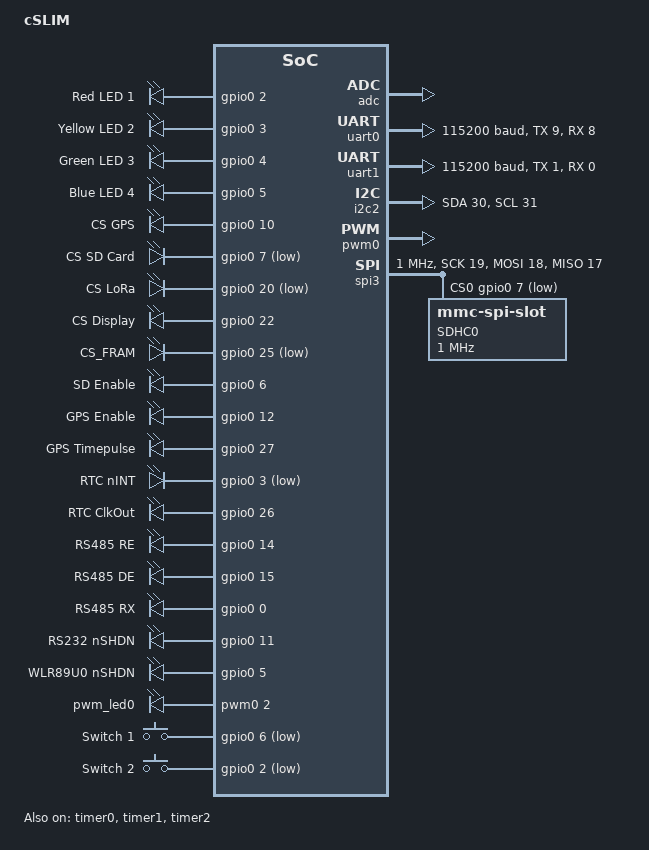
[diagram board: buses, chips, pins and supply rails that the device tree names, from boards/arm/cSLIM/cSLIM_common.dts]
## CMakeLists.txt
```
#
# Copyright (c) 2018 Nordic Semiconductor ASA
#
# SPDX-License-Identifier: LicenseRef-Nordic-5-Clause
#

cmake_minimum_required(VERSION 3.13.1)

#add custom board
list(APPEND BOARD_ROOT ${CMAKE_CURRENT_SOURCE_DIR})

find_package(Zephyr REQUIRED HINTS $ENV{ZEPHYR_BASE})
project(mqtt-simple)

#Fix <ff.h> not found
zephyr_include_directories( $ENV{ZEPHYR_BASE}/../modules/fs/fatfs/include)        #Add this line

#disable uart logging of boot sequence
set(mcuboot_CONF_FILE 
    prj.conf 
    mcuboot_config.conf
    )

#add local sources
FILE(GLOB app_sources src/*.c)
target_sources(app PRIVATE ${app_sources})
target_include_directories(app PRIVATE src)

add_subdirectory(src/drivers)
add_subdirectory(src/devices)
add_subdirectory(src/ugui)
add_subdirectory(src/buffers)
add_subdirectory(src/tasks)
add_subdirectory(src/time)
add_subdirectory(src/mqtt)
add_subdirectory(src/local_log)
add_subdirectory(src/messages)

# NORDIC SDK APP START
target_sources(app PRIVATE src/main.c)
# NORDIC SDK APP END
```

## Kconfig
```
#
# Copyright (c) 2020 Nordic Semiconductor ASA
#
# SPDX-License-Identifier: LicenseRef-Nordic-5-Clause
#

menu "MQTT simple sample"
config MQTT_PUB_TOPIC
	string "MQTT publish topic"
	default "my/publish/topic"

config MQTT_SUB_TOPIC
	string "MQTT subscribe topic"
	default "my/subscribe/topic"

config MQTT_CLIENT_ID
	string "MQTT Client ID"
	default "my-client-id"

config MQTT_BROKER_HOSTNAME
	string "MQTT broker hostname"
	default "mqtt.eclipseprojects.io"

config MQTT_BROKER_PORT
	int "MQTT broker port"
	default 1883

config MQTT_BROKER_USERNAME
	string "MQTT broker username"
	default NULL

config MQTT_BROKER_PASSWORD
	string "MQTT broker password"
	default NULL

config MQTT_MESSAGE_BUFFER_SIZE
	int "MQTT message buffer size"
	default 128

config MQTT_PAYLOAD_BUFFER_SIZE
	int "MQTT payload buffer size"
	default 128

config BUTTON_EVENT_PUBLISH_MSG
	string "The message to publish on a button event"
	default "Hello from nRF91 MQTT Simple Sample"

config BUTTON_EVENT_BTN_NUM
	int "The button number"
	default 1

config MQTT_RECONNECT_DELAY_S
	int "Seconds to delay before attempting to reconnect to the broker."
	default 60

config LTE_CONNECT_RETRY_DELAY_S
	int "Seconds to delay before attempting to retry LTE connection."
	default 120

config MQTT_TLS_SEC_TAG
	int "TLS credentials security tag"
	default 24

config MQTT_TLS_SESSION_CACHING
	bool "Enable TLS session caching"

config MQTT_TLS_PEER_VERIFY
	int "Set peer verification level"
	default 2
	help
		Set to 0 for VERIFY_NONE, 1 for VERIFY_OPTIONAL, and 2 for
		VERIFY_REQUIRED.
		

endmenu

menu "Zephyr Kernel"
source "Kconfig.zephyr"
endmenu

module = MQTT_SIMPLE
module-str = MQTT Simple
source "${ZEPHYR_BASE}/subsys/logging/Kconfig.template.log_config"
```

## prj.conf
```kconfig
#
# Copyright (c) 2020 Nordic Semiconductor ASA
#
# SPDX-License-Identifier: LicenseRef-Nordic-5-Clause
#

# Networking
CONFIG_NETWORKING=y
CONFIG_NET_NATIVE=n
CONFIG_NET_SOCKETS_OFFLOAD=y
CONFIG_NET_SOCKETS=y
CONFIG_NET_SOCKETS_POSIX_NAMES=y

# LTE link control
CONFIG_LTE_LINK_CONTROL=y
CONFIG_LTE_AUTO_INIT_AND_CONNECT=n
CONFIG_LTE_NETWORK_MODE_NBIOT=y

CONFIG_MQTT_KEEPALIVE=3500
CONFIG_LTE_EDRX_REQ=y
CONFIG_LTE_EDRX_REQ_VALUE="0110"
#CONFIG_LTE_PSM_REQ_RPTAU=
#CONFIG_LTE_PSM_REQ_RAT=

# Modem library
CONFIG_NRF_MODEM_LIB=y

# AT Host
CONFIG_UART_INTERRUPT_DRIVEN=y
CONFIG_AT_HOST_LIBRARY=y

# MQTT
CONFIG_MQTT_LIB=y
CONFIG_MQTT_LIB_TLS=n
CONFIG_MQTT_CLEAN_SESSION=y

# Application
CONFIG_MQTT_PUB_TOPIC="p/806" #keep short to save energy
CONFIG_MQTT_SUB_TOPIC="s/806" #keep short to save energy
CONFIG_MQTT_CLIENT_ID="nRF9160"
CONFIG_MQTT_BROKER_HOSTNAME="otter01.it.ntnu.no"
CONFIG_MQTT_BROKER_PORT=8234
CONFIG_MQTT_BROKER_USERNAME="eivinhj_test"
CONFIG_MQTT_BROKER_PASSWORD="eeei1243"

#enable JSON for message passing to IoF backend
CONFIG_JSON_LIBRARY=y

# Button support
CONFIG_DK_LIBRARY=y



# Memory
CONFIG_MAIN_STACK_SIZE=4096
CONFIG_HEAP_MEM_POOL_SIZE=2048
CONFIG_MQTT_MESSAGE_BUFFER_SIZE=512
CONFIG_MQTT_PAYLOAD_BUFFER_SIZE=512

# Enable SPI
CONFIG_SPI=y
CONFIG_SPI_3=y


#Enable SD card

CONFIG_DISK_ACCESS_SDHC=y
CONFIG_DISK_ACCESS_SPI_SDHC=y
CONFIG_SPI_NRFX_RAM_BUFFER_SIZE=8
CONFIG_DISK_ACCESS=y
CONFIG_FILE_SYSTEM=y
CONFIG_FAT_FILESYSTEM_ELM=y
CONFIG_MAIN_STACK_SIZE=2048


# Enable I2C
CONFIG_I2C=y

# Enable ADC
CONFIG_ADC=y
CONFIG_ADC_ASYNC=y

#Enable PPI
CONFIG_NRFX_DPPI=y	

#Enable PINMUX
CONFIG_PINMUX=y


#logging (is turned off)
CONFIG_LOG=n
CONFIG_MQTT_SIMPLE_LOG_LEVEL_DBG=n
CONFIG_LOG_BACKEND_RTT=n
CONFIG_LOG_BACKEND_UART=n
CONFIG_LOG_DEFAULT_LEVEL=2
CONFIG_SPI_LOG_LEVEL_ERR=y

#disable boot banner
CONFIG_BOOT_BANNER=n

#Enable/Disable Nordic GPS
CONFIG_NRF9160_GPS=n

#for time.h functions etc
CONFIG_NEWLIB_LIBC=y

CONFIG_JSON_LIBRARY=y

CONFIG_TRUSTED_EXECUTION_NONSECURE=y
```

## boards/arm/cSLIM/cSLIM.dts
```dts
/*
 * Copyright (c) 2018-2020 Nordic Semiconductor ASA
 *
 * SPDX-License-Identifier: Apache-2.0
 */

/dts-v1/;
#include <nordic/nrf9160_sica.dtsi>
#include "cSLIM_common.dts"

/ {
	chosen {
		zephyr,sram = &sram0_s;
		zephyr,flash = &flash0;
		zephyr,code-partition = &slot0_partition;
		zephyr,sram-secure-partition = &sram0_s;
		zephyr,sram-non-secure-partition = &sram0_ns;
	};
};
```

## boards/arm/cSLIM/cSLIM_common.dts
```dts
/*
 * Copyright (c) 2018-2020 Nordic Semiconductor ASA
 *
 * SPDX-License-Identifier: Apache-2.0
 */

/ {
	model = "cSLIM";
	compatible = "nordic,cSLIM";

	chosen {
		zephyr,console = &uart0;
		zephyr,shell-uart = &uart0;
		zephyr,uart-mcumgr = &uart0;
	};

	leds {
		compatible = "gpio-leds";
		led0: led_0 {
			gpios = <&gpio0 2 0>;
			label = "Red LED 1";
		};
		led1: led_1 {
			gpios = <&gpio0 3 0>;
			label = "Yellow LED 2";
		};
		led2: led_2 {
			gpios = <&gpio0 4 0>;
			label = "Green LED 3";
		};
		led3: led_3 {
			gpios = <&gpio0 5 0>;
			label = "Blue LED 4";
		};
	};

	chipselect {
		compatible = "gpio-leds";
		cs0: cs_gps {
			gpios = <&gpio0 10 0>;
			label = "CS GPS";
		};
		cs1: cs_sd {
			gpios = <&gpio0 7 (GPIO_ACTIVE_LOW)>;
			label = "CS SD Card";
		};
		cs2: cs_lora {
			gpios = <&gpio0 20 (GPIO_ACTIVE_LOW)>;
			label = "CS LoRa";
		};
		cs3: cs_display {
			gpios = <&gpio0 22 (GPIO_ACTIVE_HIGH)>;
			label = "CS Display";
		};
		cs4: cs_fram {
			gpios = <&gpio0 25 (GPIO_ACTIVE_LOW)>;
			label = "CS_FRAM";
		};
	};

	sd_gpio {
		compatible = "gpio-leds";
			sdenable: sd_enable {
				gpios = <&gpio0 6 0>;
				label = "SD Enable";
			};
	};

	gps_gpio {
		compatible = "gpio-leds";
			gpsenable: gps_enable {
				gpios = <&gpio0 12 0>;
				label = "GPS Enable";
			};
			gpstimepulse: gps_timepulse {
				gpios = <&gpio0 27 (GPIO_PULL_UP | GPIO_ACTIVE_HIGH)>;
				label = "GPS Timepulse";
			};
	};

	rtc_gpio {
		compatible = "gpio-leds";
			rtcnint: rtc_nint {
				gpios = <&gpio0 3 (GPIO_PULL_UP | GPIO_ACTIVE_LOW)>;
				label = "RTC nINT";
			};
			rtcclkout: rtc_clkout {
				gpios = <&gpio0 26 (GPIO_PULL_UP | GPIO_ACTIVE_HIGH)>;
				label = "RTC ClkOut";
			};
	};

	rs485_gpio {
		compatible = "gpio-leds";
			rs485re: rs485_re {
				gpios = <&gpio0 14 0>;
				label = "RS485 RE";
			};
			rs485de: rs485_de {
				gpios = <&gpio0 15 0>;
				label = "RS485 DE";
			};
			rs485rx: rs485_rx {
				gpios = <&gpio0 0 GPIO_PULL_UP>;
				label = "RS485 RX";
			};
	};

	rs232_gpio {
		compatible = "gpio-leds";
			rs232nshdn: rs232_nshdn {
				gpios = <&gpio0 11 0>;
				label = "RS232 nSHDN";
			};
	};

	wlr089u0_gpio {
		compatible = "gpio-leds";
		wlr089u0nen: wlr089u0_nen {
				gpios = <&gpio0 5 0>;
				label = "WLR89U0 nSHDN";
			};
	};

	pwmleds {
		compatible = "pwm-leds";
		pwm_led0: pwm_led_0 {
			pwms = <&pwm0 2>;
		};
	};

	buttons {
		compatible = "gpio-keys";
		button0: button_0 {
			gpios = <&gpio0 6 (GPIO_PULL_UP | GPIO_ACTIVE_LOW)>;
			label = "Switch 1";
		};
		button1: button_1 {
			gpios = <&gpio0 2 (GPIO_PULL_UP | GPIO_ACTIVE_LOW)>;
			label = "Switch 2";
		};

	};

	/* These aliases are provided for compatibility with samples */
	aliases {
		led0 = &led0;
		led1 = &led1;
		led2 = &led2;
		led3 = &led3;
		pwm-led0 = &pwm_led0;
		sw0 = &button0;
		sw1 = &button1;
		//sw2 = &button0;
		//sw3 = &button1;
		cs0 = &cs0;
		cs1 = &cs1;
		cs2 = &cs2;
		cs3 = &cs3;
		cs4 = &cs4;
		adcctrl = &adc;
		uart0 = &uart0;
		uart1 = &uart1;
		uart2 = &uart2;
		rs485re = &rs485re;
		rs485de = &rs485de;
		sdenable = &sdenable;
		gpstimepulse = &gpstimepulse;
		gpsenable = &gpsenable;
		rtcclkout = &rtcclkout;
		rtcnint = &rtcnint;
		rs232nshdn = &rs232nshdn;
		wlr089u0nen = &wlr089u0nen;
		i2c2 = &i2c2;
		timer2 = &timer2;
	};
};

&adc {
	status = "okay";
};

&gpiote {
	status = "okay";
};

&gpio0 {
	status = "okay";
};

&uart0 {
	status = "okay";
	current-speed = <115200>;
	tx-pin = <9>;
	rx-pin = <8>;
    /delete-property/ rts-pin;
    /delete-property/ cts-pin;
};

&uart1 {
	status = "okay";
	current-speed = <115200>;
	tx-pin = <1>;
	rx-pin = <0>;
};

&uart2 {
	status = "disabled";
	current-speed = <115200>;
	tx-pin = <24>;
	rx-pin = <23>;
};

&i2c2 {
	compatible = "nordic,nrf-twim";
	status = "okay";
	sda-pin = <30>;
	scl-pin = <31>;
};

&pwm0 {
	status = "okay";
	ch0-pin = <2>;
};

&spi3 {
	compatible = "nordic,nrf-spim";
	status = "okay";
	sck-pin = <19>;
	mosi-pin = <18>;
	miso-pin = <17>;
	clock-frequency = <1000000>;
	cs-gpios = <&gpio0 7 GPIO_ACTIVE_LOW>, <&gpio0 25 GPIO_ACTIVE_LOW>; 
	sdhc0: sdhc@0 {
		compatible = "zephyr,mmc-spi-slot";
		reg = <0>;
		status = "okay";
		label = "SDHC0";
		spi-max-frequency = <1000000>;
	};
};

&timer0 {
	status = "okay";
};

&timer1 {
	status = "okay";
};

&timer2 {
	status = "okay";
};


&flash0 {
	/*
	 * For more information, see:
	 * https://docs.zephyrproject.org/latest/guides/dts/legacy-macros.html#legacy-flash-partitions
	 */
	partitions {
		compatible = "fixed-partitions";
		#address-cells = <1>;
		#size-cells = <1>;

		boot_partition: partition@0 {
			label = "mcuboot";
			reg = <0x00000000 0x10000>;
		};
		slot0_partition: partition@10000 {
			label = "image-0";
		};
		slot0_ns_partition: partition@50000 {
			label = "image-0-nonsecure";
		};
		slot1_partition: partition@80000 {
			label = "image-1";
		};
		slot1_ns_partition: partition@c0000 {
			label = "image-1-nonsecure";
		};
		scratch_partition: partition@f0000 {
			label = "image-scratch";
			reg = <0x000f0000 0xa000>;
		};
		storage_partition: partition@fa000 {
			label = "storage";
			reg = <0x000fa000 0x00006000>;
		};
	};
};

/ {

	reserved-memory {
		#address-cells = <1>;
		#size-cells = <1>;
		ranges;

		sram0_s: image_s@20000000 {
			/* Secure image memory */
		};

		sram0_bsd: image_bsd@20010000 {
			/* BSD (shared) memory */
		};

		sram0_ns: image_ns@20020000 {
			/* Non-Secure image memory */
		};
	};
};

/* Include partition configuration file */
#include "cSLIM_partition_conf.dts"
```

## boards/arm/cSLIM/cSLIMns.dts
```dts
/*
 * Copyright (c) 2018-2020 Nordic Semiconductor ASA
 *
 * SPDX-License-Identifier: Apache-2.0
 */

/dts-v1/;
#include <nordic/nrf9160ns_sica.dtsi>
#include "cSLIM_common.dts"

/ {
	chosen {
		zephyr,flash = &flash0;
		zephyr,sram = &sram0_ns;
		zephyr,code-partition = &slot0_ns_partition;
	};
};
```

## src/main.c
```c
/*
 * Copyright (c) 2018 Nordic Semiconductor ASA
 *
 * SPDX-License-Identifier: LicenseRef-Nordic-5-Clause
 */

#include <zephyr.h>
#include <stdio.h>
#include <drivers/uart.h>
#include <drivers/gpio.h>
#include <drivers/spi.h>
#include <drivers/flash.h>
#include <device.h>
#include <devicetree.h>
#include <string.h>
#include <random/rand32.h>
#include <net/mqtt.h>
#include <net/socket.h>
#include <modem/lte_lc.h>
#include <logging/log.h>
#include <shell/shell.h>

#if defined(CONFIG_MODEM_KEY_MGMT)
#include <modem/modem_key_mgmt.h>
#endif
#if defined(CONFIG_LWM2M_CARRIER)
#include <lwm2m_carrier.h>
#endif

#include "mqtt/certificates.h"

#include "modem.h"
#include "mqtt/cSLIM_MQTT.h"
#include <nrfx_gpiote.h>
#include <helpers/nrfx_gppi.h>
#if defined(DPPI_PRESENT)
#include <nrfx_dppi.h>
#else
#include <nrfx_ppi.h>
#endif

#include <string.h>
#include <stdbool.h>
#include "drivers/cSLIM_button.h"
#include "drivers/cSLIM_SPI.h"
#include "drivers/cSLIM_LED.h"
#include "drivers/cSLIM_rs232.h"
#include "devices/cSLIM_analog.h"
#include "devices/rv-3032-c7.h"
#include "devices/wlr089u0.h"
#include "devices/display.h"
#include "devices/cSLIM_fram.h"
#include "devices/cSLIM_sd.h"
#include "local_log/local_log.h"

#include "tasks/LoRa_task.h"
#include "tasks/display_task.h"
#include "tasks/cslim_status_task.h"
#include "tasks/gps_task.h"
#include "tasks/time_task.h"
#include "tasks/tbr_sync_task.h"
#include "tasks/tbr_detect_task.h"
#include "tasks/mqtt_task.h"
#include <time.h>

/* size of stack area used by each thread */
#define TASK_DEFAULT_STACKSIZE 1024

/* scheduling priority used by each thread */
#define TASK_DEFAULT_PRIORITY 7

#define MQTT_ENABLE 0

LOG_MODULE_REGISTER(cslim_main, CONFIG_MQTT_SIMPLE_LOG_LEVEL);


void main(void)
{

	
	int err;
	(void) err;
	LOG_INF("Application starting %d", DT_GPIO_PIN(DT_ALIAS(sw0),gpios));

	//cSLIM_button_init(BTN1);  //TODO Some problem here makes it hang
	cSLIM_spi_init();
	cSLIM_CS_init(ALL);

	//cSLIM_button_init(BTN1); //Used by uSD card, must find a solution to share this, or use other pins if making new design
	//cSLIM_button_init(BTN2); //Used by uSD card, must find a solution to share this, or use other pins if making new design

	cSLIM_led_init(GREEN);
	cSLIM_led_on(GREEN);
	//rs232_init(); 


	k_sleep(K_SECONDS(4));

	local_log_init(LOG_FRAM);   //Initiate and put to sleep
	local_log_init(LOG_uSD);
	sd_card_off();				//Save power

	LOG_INF("MAIN CONFIG DONE");

/*	rv3032_init();
	while(1)
	{
		k_sleep(K_MSEC(1));
		rv3032_get_date_and_time();	
	}
*/

	while (1) {
			k_sleep(K_FOREVER);
			
	}
}


//Tasks

K_THREAD_DEFINE(loRa_task_id, 2*TASK_DEFAULT_STACKSIZE, loRa_task, NULL, NULL, NULL, TASK_DEFAULT_PRIORITY, 0, 0);
K_THREAD_DEFINE(display_task_id, 2*TASK_DEFAULT_STACKSIZE, display_task, NULL, NULL, NULL, TASK_DEFAULT_PRIORITY, 0, 0);
K_THREAD_DEFINE(tbr_sync_task_id, 2*TASK_DEFAULT_STACKSIZE, tbr_sync_task, NULL, NULL, NULL, TASK_DEFAULT_PRIORITY - 2, 0, 0);
K_THREAD_DEFINE(tbr_detect_task_id, TASK_DEFAULT_STACKSIZE, tbr_detect_task, NULL, NULL, NULL, TASK_DEFAULT_PRIORITY, 0, 0);
K_THREAD_DEFINE(cslim_status_task_id, TASK_DEFAULT_STACKSIZE, cslim_status_task, NULL, NULL, NULL, TASK_DEFAULT_PRIORITY, 0, 0);
K_THREAD_DEFINE(mqtt_task_id, 2*TASK_DEFAULT_STACKSIZE, mqtt_task, NULL, NULL, NULL, TASK_DEFAULT_PRIORITY, 0, 0);
K_THREAD_DEFINE(gps_task_id, TASK_DEFAULT_STACKSIZE, gps_task, NULL, NULL, NULL, TASK_DEFAULT_PRIORITY -3, 0, 0);
K_THREAD_DEFINE(time_task_id, TASK_DEFAULT_STACKSIZE, time_task, NULL, NULL, NULL, TASK_DEFAULT_PRIORITY-1, 0, 0);
```

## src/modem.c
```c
/*
 * cSLIM_modem.c
 *
 * Based on Nordic Semiconductor Example in NCS
 * 
 * Created: 25.04.21
 *  Author: eivinhj
 */ 


#include "modem.h"
#include <zephyr.h>
#include <modem/lte_lc.h>
#include <logging/log.h>

LOG_MODULE_REGISTER(cslim_modem, CONFIG_MQTT_SIMPLE_LOG_LEVEL);

#if defined(CONFIG_MQTT_LIB_TLS)
int certificates_provision(void)
{
	int err = 0;

	LOG_INF("Provisioning certificates");

#if defined(CONFIG_NRF_MODEM_LIB) && defined(CONFIG_MODEM_KEY_MGMT)

	err = modem_key_mgmt_write(CONFIG_MQTT_TLS_SEC_TAG,
				   MODEM_KEY_MGMT_CRED_TYPE_CA_CHAIN,
				   CA_CERTIFICATE,
				   strlen(CA_CERTIFICATE));
	if (err) {
		LOG_ERR("Failed to provision CA certificate: %d", err);
		return err;
	}

#elif defined(CONFIG_BOARD_QEMU_X86) && defined(CONFIG_NET_SOCKETS_SOCKOPT_TLS)

	err = tls_credential_add(CONFIG_MQTT_TLS_SEC_TAG,
				 TLS_CREDENTIAL_CA_CERTIFICATE,
				 CA_CERTIFICATE,
				 sizeof(CA_CERTIFICATE));
	if (err) {
		LOG_ERR("Failed to register CA certificate: %d", err);
		return err;
	}

#endif

	return err;
}
#endif /* defined(CONFIG_MQTT_LIB_TLS) */

#if defined(CONFIG_NRF_MODEM_LIB)

/**@brief Recoverable modem library error. */
void nrf_modem_recoverable_error_handler(uint32_t err)
{
	LOG_ERR("Modem library recoverable error: %u", (unsigned int)err);
}

#endif /* defined(CONFIG_NRF_MODEM_LIB) */

#if defined(CONFIG_LWM2M_CARRIER)
K_SEM_DEFINE(carrier_registered, 0, 1);
int lwm2m_carrier_event_handler(const lwm2m_carrier_event_t *event)
{
	switch (event->type) {
	case LWM2M_CARRIER_EVENT_BSDLIB_INIT:
		LOG_INF("LWM2M_CARRIER_EVENT_BSDLIB_INIT");
		break;
	case LWM2M_CARRIER_EVENT_CONNECTING:
		LOG_INF("LWM2M_CARRIER_EVENT_CONNECTING");
		break;
	case LWM2M_CARRIER_EVENT_CONNECTED:
		LOG_INF("LWM2M_CARRIER_EVENT_CONNECTED");
		break;
	case LWM2M_CARRIER_EVENT_DISCONNECTING:
		LOG_INF("LWM2M_CARRIER_EVENT_DISCONNECTING");
		break;
	case LWM2M_CARRIER_EVENT_DISCONNECTED:
		LOG_INF("LWM2M_CARRIER_EVENT_DISCONNECTED");
		break;
	case LWM2M_CARRIER_EVENT_BOOTSTRAPPED:
		LOG_INF("LWM2M_CARRIER_EVENT_BOOTSTRAPPED");
		break;
	case LWM2M_CARRIER_EVENT_REGISTERED:
		LOG_INF("LWM2M_CARRIER_EVENT_REGISTERED");
		k_sem_give(&carrier_registered);
		break;
	case LWM2M_CARRIER_EVENT_DEFERRED:
		LOG_INF("LWM2M_CARRIER_EVENT_DEFERRED");
		break;
	case LWM2M_CARRIER_EVENT_FOTA_START:
		LOG_INF("LWM2M_CARRIER_EVENT_FOTA_START");
		break;
	case LWM2M_CARRIER_EVENT_REBOOT:
		LOG_INF("LWM2M_CARRIER_EVENT_REBOOT");
		break;
	case LWM2M_CARRIER_EVENT_LTE_READY:
		LOG_INF("LWM2M_CARRIER_EVENT_LTE_READY");
		break;
	case LWM2M_CARRIER_EVENT_ERROR:
		LOG_ERR("LWM2M_CARRIER_EVENT_ERROR: code %d, value %d",
			((lwm2m_carrier_event_error_t *)event->data)->code,
			((lwm2m_carrier_event_error_t *)event->data)->value);
		break;
	default:
		LOG_WRN("Unhandled LWM2M_CARRIER_EVENT: %d", event->type);
		break;
	}

	return 0;
}
#endif /* defined(CONFIG_LWM2M_CARRIER) */



/**@brief Configures modem to provide LTE link. Blocks until link is
 * successfully established.
 */
int modem_configure(void)
{

	/* Turn on/off LTE power saving features. Some
	 * networks rejects timer updates after the device has registered to the
	 * LTE network.
	 */
	int err;
	LOG_INF("Enabling PSM");
	err = lte_lc_psm_req(true);
	if (err) {
		LOG_ERR("lte_lc_psm_req, error: %d\n", err);
	}
	LOG_INF("Enabling PSM and eDRX");
	err = lte_lc_edrx_req(true);
	if (err) {
		LOG_ERR("lte_lc_edrx_req, error: %d\n", err);
	}

#if defined(CONFIG_LTE_LINK_CONTROL)
	if (IS_ENABLED(CONFIG_LTE_AUTO_INIT_AND_CONNECT)) {
		/* Do nothing, modem is already turned on
		 * and connected.
		 */
	} else {
#if defined(CONFIG_LWM2M_CARRIER)
		/* Wait for the LWM2M_CARRIER to configure the modem and
		 * start the connection.
		 */
		LOG_INF("Waitng for carrier registration...");
		k_sem_take(&carrier_registered, K_FOREVER);
		LOG_INF("Registered!");
#else /* defined(CONFIG_LWM2M_CARRIER) */
		int err;

		LOG_INF("LTE Link Connecting...");
		err = lte_lc_init_and_connect();
		if (err) {
			LOG_INF("Failed to establish LTE connection: %d", err);
			return err;
		}
		LOG_INF("LTE Link Connected!");
#endif /* defined(CONFIG_LWM2M_CARRIER) */
	}
#endif /* defined(CONFIG_LTE_LINK_CONTROL) */

	return 0;
}
```

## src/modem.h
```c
#ifndef CSLIM_MODEM_H
#define CSLIM_MODEM_H

/**
 * @brief 
 * @details 
 *
 * @param[in] void		void
 */
int modem_configure(void);

/**
 * @brief 
 * @details 
 *
 * @param[in] void		void
 */
int certificates_provision(void);

#endif //CSLIM_MODEM
```
